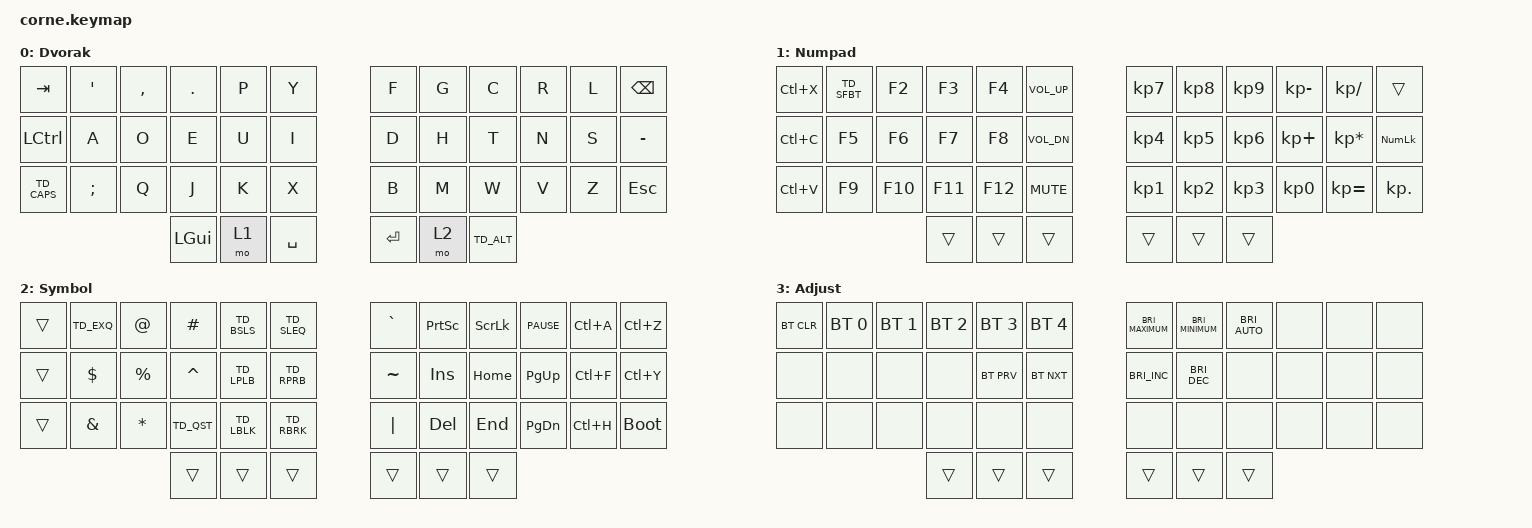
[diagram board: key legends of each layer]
/*
 * Copyright (c) 2020 The ZMK Contributors
 *
 * SPDX-License-Identifier: MIT
 */

#include <behaviors.dtsi>
#include <dt-bindings/zmk/bt.h>
#include <dt-bindings/zmk/keys.h>

/ {
    behaviors {
        TD_CAPS: TD_CAPS {
            compatible = "zmk,behavior-tap-dance";
            label = "Left Shift";
            #binding-cells = <0>;
            bindings = <&kp LSHFT>, <&kp CLCK>;
        };

        TD_SFBT: TD_SFBT {
            compatible = "zmk,behavior-tap-dance";
            label = "TD_SFBT";
            #binding-cells = <0>;
            bindings = <&kp F1>, <&bootloader>;
        };

        TD_ALT: TD_ALT {
            compatible = "zmk,behavior-tap-dance";
            label = "TD_ALT";
            #binding-cells = <0>;
            bindings = <&kp RIGHT_ALT>, <&kp LEFT_ALT>;
        };

        TD_QST: TD_QST {
            compatible = "zmk,behavior-tap-dance";
            label = "TD_QST";
            #binding-cells = <0>;
            bindings = <&kp QUESTION>, <&ud_qst>;
        };

        TD_BSLS: TD_BSLS {
            compatible = "zmk,behavior-tap-dance";
            label = "TD_BSLS";
            #binding-cells = <0>;
            bindings = <&kp BACKSLASH>, <&kp PIPE>;
        };

        TD_SLEQ: TD_SLEQ {
            compatible = "zmk,behavior-tap-dance";
            label = "TD_SLEQ";
            #binding-cells = <0>;
            bindings = <&kp SLASH>, <&kp EQUAL>;
        };

        TD_EXQ: TD_EXQ {
            compatible = "zmk,behavior-tap-dance";
            label = "TD_EXQ";
            #binding-cells = <0>;
            bindings = <&kp EXCL>, <&ud_exc>;
        };

        TD_LPLB: TD_LPLB {
            compatible = "zmk,behavior-tap-dance";
            label = "TD_LPLB";
            #binding-cells = <0>;
            bindings = <&kp LEFT_PARENTHESIS>, <&kp LESS_THAN>;
        };

        TD_RPRB: TD_RPRB {
            compatible = "zmk,behavior-tap-dance";
            label = "TD_RPRB";
            #binding-cells = <0>;
            bindings = <&kp RIGHT_PARENTHESIS>, <&kp GREATER_THAN>;
        };

        TD_LBLK: TD_LBLK {
            compatible = "zmk,behavior-tap-dance";
            label = "TD_LBLK";
            #binding-cells = <0>;
            bindings = <&kp LEFT_BRACE>, <&kp LEFT_BRACKET>;
        };

        TD_RBRK: TD_RBRK {
            compatible = "zmk,behavior-tap-dance";
            label = "TD_RBRK";
            #binding-cells = <0>;
            bindings = <&kp RIGHT_BRACE>, <&kp RIGHT_BRACKET>;
        };
    };

    macros {
        ud_qst: ud_qst {
            compatible = "zmk,behavior-macro";
            #binding-cells = <0>;
            bindings =
                <&macro_press>,
                <&kp LEFT_ALT>,
                <&macro_tap>,
                <&kp KP_NUMBER_1 &kp KP_NUMBER_6 &kp KP_NUMBER_8>,
                <&macro_release>,
                <&kp LEFT_ALT>;

            label = "UD_QST";
        };

        ud_exc: ud_exc {
            compatible = "zmk,behavior-macro";
            #binding-cells = <0>;
            bindings =
                <&macro_press>,
                <&kp LEFT_ALT>,
                <&macro_tap>,
                <&kp KP_NUMBER_0 &kp KP_NUMBER_1 &kp KP_NUMBER_6 &kp KP_NUMBER_1>,
                <&macro_release>,
                <&kp LEFT_ALT>;

            label = "UD_EXC";
        };
    };

    keymap {
        compatible = "zmk,keymap";

        default_layer {
            // -----------------------------------------------------------------------------------------
            // |  TAB |  '  |  ,  |  .  |  P  |  Y  |   |  F  |  G   |  C  |  R  |  L  | BKSP |
            // | CTRL |  A  |  O  |  E  |  U  |  I  |   |  D  |  H   |  T  |  N  |  S  |  -   |
            // | SHFT |  ;  |  Q  |  J  |  K  |  X  |   |  B  |  M   |  W  |  V  |  Z  | ESC  |
            //                    | GUI | LWR | SPC |   | ENT | RSE  | ALT |

            display-name = "Dvorak";
            bindings = <
&kp TAB    &kp SQT        &kp COMMA  &kp PERIOD  &kp P  &kp Y        &kp F    &kp G  &kp C    &kp R  &kp L  &kp BSPC
&kp LCTRL  &kp A          &kp O      &kp E       &kp U  &kp I        &kp D    &kp H  &kp T    &kp N  &kp S  &kp MINUS
&TD_CAPS   &kp SEMICOLON  &kp Q      &kp J       &kp K  &kp X        &kp B    &kp M  &kp W    &kp V  &kp Z  &kp ESC
                                     &kp LGUI    &mo 1  &kp SPACE    &kp RET  &mo 2  &TD_ALT
            >;
        };

        lower_layer {
            // -----------------------------------------------------------------------------------------
            // |  TAB |  1  |  2  |  3  |  4  |  5  |   |  6  |  7  |  8  |  9  |  0  | BKSP |
            // | BTCLR| BT1 | BT2 | BT3 | BT4 | BT5 |   | LFT | DWN |  UP | RGT |     |      |
            // | SHFT |     |     |     |     |     |   |     |     |     |     |     |      |
            //                    | GUI |     | SPC |   | ENT |     | ALT |

            display-name = "Numpad";
            bindings = <
&kp LC(X)  &TD_SFBT  &kp F2   &kp F3   &kp F4   &kp C_VOL_UP    &kp KP_NUMBER_7  &kp KP_NUMBER_8  &kp KP_NUMBER_9  &kp KP_MINUS     &kp KP_DIVIDE    &trans
&kp LC(C)  &kp F5    &kp F6   &kp F7   &kp F8   &kp C_VOL_DN    &kp KP_NUMBER_4  &kp KP_NUMBER_5  &kp KP_NUMBER_6  &kp KP_PLUS      &kp KP_MULTIPLY  &kp KP_NLCK
&kp LC(V)  &kp F9    &kp F10  &kp F11  &kp F12  &kp C_MUTE      &kp KP_NUMBER_1  &kp KP_NUMBER_2  &kp KP_NUMBER_3  &kp KP_NUMBER_0  &kp KP_EQUAL     &kp KP_DOT
                              &trans   &trans   &trans          &trans           &trans           &trans
            >;
        };

        raise_layer {
            // -----------------------------------------------------------------------------------------
            // |  TAB |  !  |  @  |  #  |  $  |  %  |   |  ^  |  &  |  *  |  (  |  )  | BKSP |
            // | CTRL |     |     |     |     |     |   |  -  |  =  |  [  |  ]  |  \  |  `   |
            // | SHFT |     |     |     |     |     |   |  _  |  +  |  {  |  }  | "|" |  ~   |
            //                    | GUI |     | SPC |   | ENT |     | ALT |

            display-name = "Symbol";
            bindings = <
&trans  &TD_EXQ        &kp AT        &kp HASH   &TD_BSLS  &TD_SLEQ    &kp GRAVE  &kp PRINTSCREEN  &kp SCROLLLOCK  &kp C_PAUSE    &kp LC(A)  &kp LC(Z)
&trans  &kp DOLLAR     &kp PERCENT   &kp CARET  &TD_LPLB  &TD_RPRB    &kp TILDE  &kp INS          &kp HOME        &kp PAGE_UP    &kp LC(F)  &kp LC(Y)
&trans  &kp AMPERSAND  &kp ASTERISK  &TD_QST    &TD_LBLK  &TD_RBRK    &kp PIPE   &kp DELETE       &kp END         &kp PAGE_DOWN  &kp LC(H)  &bootloader
                                     &trans     &trans    &trans      &trans     &trans           &trans
            >;
        };

        both_layer {
            bindings = <
&bt BT_CLR  &bt BT_SEL 0  &bt BT_SEL 1  &bt BT_SEL 2  &bt BT_SEL 3  &bt BT_SEL 4    &kp C_BRIGHTNESS_MAXIMUM  &kp C_BRIGHTNESS_MINIMUM  &kp C_BRIGHTNESS_AUTO  &none  &none  &none
&none       &none         &none         &none         &bt BT_PRV    &bt BT_NXT      &kp C_BRIGHTNESS_INC      &kp C_BRIGHTNESS_DEC      &none                  &none  &none  &none
&none       &none         &none         &none         &none         &none           &none                     &none                     &none                  &none  &none  &none
                                        &trans        &trans        &trans          &trans                    &trans                    &trans
            >;

            label = "Adjust";
        };
    };

    conditional_layers {
        compatible = "zmk,conditional-layers";

        adjust_layer {
            if-layers = <1 2>;
            then-layer = <3>;
        };
    };
};
